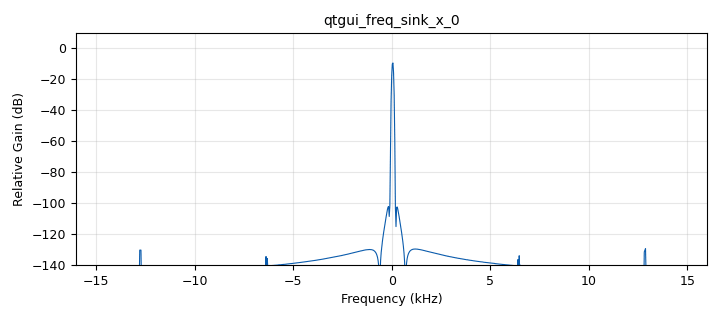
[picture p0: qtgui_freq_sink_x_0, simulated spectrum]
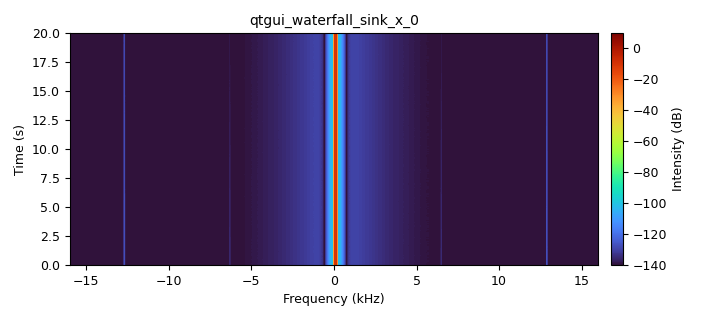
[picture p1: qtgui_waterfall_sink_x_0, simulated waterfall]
options:
  parameters:
    generate_options: qt_gui
    id: testing
    output_language: python
    title: testing for frequencyML
  states: {}

blocks:
- name: samp_rate
  id: variable
  parameters:
    value: '32000'
  states: {}
- name: variable_qtgui_range_0
  id: variable_qtgui_range
  parameters:
    start: '10'
    step: '1'
    stop: '10000'
    value: '50'
  states: {}
- name: analog_sig_source_x_0
  id: analog_sig_source_x
  parameters:
    amp: '1'
    freq: variable_qtgui_range_0
    offset: '0'
    phase: '0'
    samp_rate: samp_rate
    type: complex
    waveform: analog.GR_COS_WAVE
  states: {}
- name: blocks_file_meta_sink_0
  id: blocks_file_meta_sink
  parameters:
    detached: 'False'
    extra_dict: pmt.make_dict()
    file: /home/labusaid/Documents/School/Fall2021/CS Project/frequencyML/GNURadio/test_recording_meta
    max_seg_size: '1000000'
    rel_rate: '1'
    samp_rate: samp_rate
    type: complex
  states: {state: disabled}
- name: blocks_file_sink_0
  id: blocks_file_sink
  parameters:
    file: /home/labusaid/Documents/School/Fall2021/CS Project/frequencyML/GNURadio/test_recording
    type: complex
  states: {}
- name: blocks_throttle_0
  id: blocks_throttle
  parameters:
    samples_per_second: samp_rate
    type: complex
  states: {}
- name: qtgui_freq_sink_x_0
  id: qtgui_freq_sink_x
  parameters:
    bw: samp_rate
    fc: '0'
    fftsize: '1024'
    type: complex
  states: {}
- name: qtgui_waterfall_sink_x_0
  id: qtgui_waterfall_sink_x
  parameters:
    bw: samp_rate
    fc: '0'
    fftsize: '1024'
    type: complex
  states: {}

connections:
- [analog_sig_source_x_0, '0', blocks_throttle_0, '0']
- [blocks_throttle_0, '0', blocks_file_meta_sink_0, '0']
- [blocks_throttle_0, '0', blocks_file_sink_0, '0']
- [blocks_throttle_0, '0', qtgui_freq_sink_x_0, '0']
- [blocks_throttle_0, '0', qtgui_waterfall_sink_x_0, '0']

metadata:
  file_format: 1
